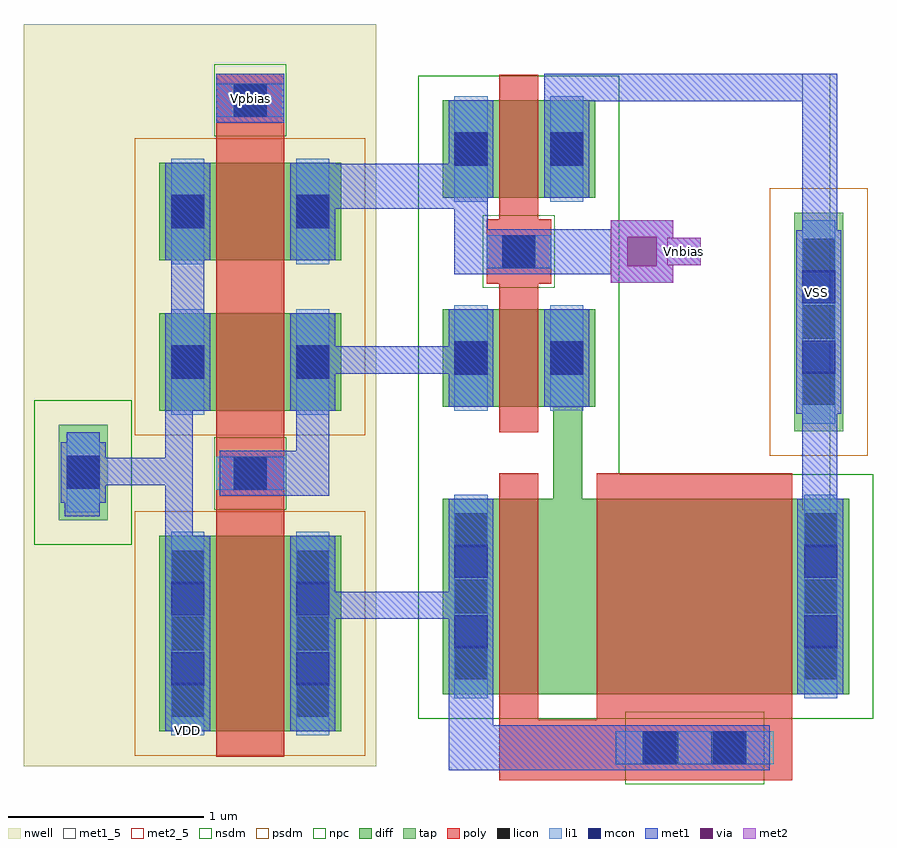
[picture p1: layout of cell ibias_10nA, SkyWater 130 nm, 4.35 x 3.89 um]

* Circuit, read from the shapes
.subckt ibias_10nA VDD VSS Vnbias Vpbias
XM1 n1 n2 n2 VSS sky130_fd_pr__nfet_01v8 w=1 l=0.2
XM2 n1 Vnbias Vpbias VSS sky130_fd_pr__nfet_01v8 w=0.5 l=0.2
XM3 VSS Vnbias Vnbias VSS sky130_fd_pr__nfet_01v8 w=0.5 l=0.2
XM4 VSS n2 n1 VSS sky130_fd_pr__nfet_01v8 w=1 l=1
XM5 n2 Vpbias VDD VDD sky130_fd_pr__pfet_01v8 w=1 l=0.35
XM6 Vpbias Vpbias VDD VDD sky130_fd_pr__pfet_01v8 w=0.5 l=0.35
XM7 Vnbias Vpbias VDD VDD sky130_fd_pr__pfet_01v8 w=0.5 l=0.35
.ends

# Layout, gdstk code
import gdstk
lib = gdstk.Library(unit=1e-6, precision=1e-09)
def R(c, l, rs):  # rectangles x0, y0, x1, y1
    for r in rs: c.add(gdstk.rectangle(r[:2], r[2:], *l))
def A(c, l, x, y, w, h, nx, ny, dx, dy):  # array of equal rectangles
    R(c, l, [(x+i*dx, y+j*dy, x+i*dx+w, y+j*dy+h) for i in range(nx) for j in range(ny)])
nwell = (64, 20)
diff = (65, 20)
tap = (65, 44)
poly = (66, 20)
licon = (66, 44)
li1 = (67, 20)
mcon = (67, 44)
met1_5 = (68, 5)
met1 = (68, 20)
via = (68, 44)
met2_5 = (69, 5)
met2 = (69, 20)
nsdm = (93, 44)
psdm = (94, 20)
npc = (95, 20)

s130_pfet_01v8_1w0_1l0 = lib.new_cell('s130_pfet_01v8_1w0_1l0')
R(s130_pfet_01v8_1w0_1l0, diff, [(-0.505,-0.345,0.79,0.655)])
R(s130_pfet_01v8_1w0_1l0, poly, [(-0.5,-0.785,0.5,0.785)])
A(s130_pfet_01v8_1w0_1l0, licon, 0.56, -0.27, 0.17, 0.17, 1, 3, 0, 0.34)
R(s130_pfet_01v8_1w0_1l0, licon, [(-0.255,-0.705,-0.085,-0.535), (0.085,-0.705,0.255,-0.535)])
R(s130_pfet_01v8_1w0_1l0, li1, [(-0.405,-0.705,0.405,-0.535), (0.56,-0.365,0.73,0.675)])
R(s130_pfet_01v8_1w0_1l0, mcon, [(-0.265,-0.705,-0.095,-0.535), (0.095,-0.705,0.265,-0.535), (0.56,-0.11,0.73,0.06), (0.56,0.25,0.73,0.42)])
R(s130_pfet_01v8_1w0_1l0, met1, [(-0.385,-0.735,0.385,-0.505), (0.53,-0.345,0.76,0.655)])
R(s130_pfet_01v8_1w0_1l0, nsdm, [(-0.63,-0.47,0.915,0.78)])
R(s130_pfet_01v8_1w0_1l0, npc, [(-0.355,-0.805,0.355,-0.435)])

s130_pfet_01v8_1w0_0l2 = lib.new_cell('s130_pfet_01v8_1w0_0l2')
R(s130_pfet_01v8_1w0_0l2, diff, [(-0.39,-0.5,0.35,0.5)])
R(s130_pfet_01v8_1w0_0l2, poly, [(-0.1,-0.63,0.1,0.63)])
A(s130_pfet_01v8_1w0_0l2, licon, -0.33, -0.425, 0.17, 0.17, 1, 3, 0, 0.34)
R(s130_pfet_01v8_1w0_0l2, li1, [(-0.33,-0.52,-0.16,0.52)])
R(s130_pfet_01v8_1w0_0l2, mcon, [(-0.33,-0.265,-0.16,-0.095), (-0.33,0.095,-0.16,0.265)])
R(s130_pfet_01v8_1w0_0l2, met1, [(-0.36,-0.5,-0.13,0.5)])
R(s130_pfet_01v8_1w0_0l2, nsdm, [(-0.515,-0.625,0.475,0.625)])

s130_pfet_01v8_1w0_0l35 = lib.new_cell('s130_pfet_01v8_1w0_0l35')
R(s130_pfet_01v8_1w0_0l35, nwell, [(-0.645,-0.5,0.645,0.99)])
R(s130_pfet_01v8_1w0_0l35, diff, [(-0.465,-0.32,0.465,0.68)])
R(s130_pfet_01v8_1w0_0l35, poly, [(-0.175,-0.45,0.175,0.81)])
A(s130_pfet_01v8_1w0_0l35, licon, -0.405, -0.245, 0.17, 0.17, 1, 3, 0, 0.34)
A(s130_pfet_01v8_1w0_0l35, licon, 0.235, -0.245, 0.17, 0.17, 1, 3, 0, 0.34)
R(s130_pfet_01v8_1w0_0l35, li1, [(-0.405,-0.34,-0.235,0.7), (0.235,-0.34,0.405,0.7)])
R(s130_pfet_01v8_1w0_0l35, mcon, [(-0.405,-0.085,-0.235,0.085), (0.235,-0.085,0.405,0.085), (-0.405,0.275,-0.235,0.445), (0.235,0.275,0.405,0.445)])
R(s130_pfet_01v8_1w0_0l35, met1, [(-0.435,-0.32,-0.205,0.68), (0.205,-0.32,0.435,0.68)])
R(s130_pfet_01v8_1w0_0l35, psdm, [(-0.59,-0.445,0.59,0.805)])

s130_pfet_01v8_0w5_0l35_ = lib.new_cell('s130_pfet_01v8_0w5_0l35_2')
R(s130_pfet_01v8_0w5_0l35_, nwell, [(-0.645,-0.74,0.645,0.525)])
R(s130_pfet_01v8_0w5_0l35_, diff, [(-0.465,-0.43,0.465,0.07)])
R(s130_pfet_01v8_0w5_0l35_, poly, [(-0.175,-0.56,0.175,0.525)])
R(s130_pfet_01v8_0w5_0l35_, licon, [(-0.405,-0.265,-0.235,-0.095), (0.235,-0.265,0.405,-0.095), (-0.085,0.305,0.085,0.475)])
R(s130_pfet_01v8_0w5_0l35_, li1, [(-0.405,-0.45,-0.235,0.09), (0.235,-0.45,0.405,0.09), (-0.175,0.305,0.175,0.475)])
R(s130_pfet_01v8_0w5_0l35_, mcon, [(-0.405,-0.265,-0.235,-0.095), (0.235,-0.265,0.405,-0.095), (-0.085,0.305,0.085,0.475)])
R(s130_pfet_01v8_0w5_0l35_, met1, [(-0.435,-0.43,-0.205,0.07), (0.205,-0.43,0.435,0.07), (-0.155,0.275,0.155,0.505)])
R(s130_pfet_01v8_0w5_0l35_, psdm, [(-0.59,-0.555,0.59,0.195)])
R(s130_pfet_01v8_0w5_0l35_, npc, [(-0.185,0.205,0.185,0.575)])

c_s130_pfet_01v8_0w5_0l35_ = lib.new_cell('s130_pfet_01v8_0w5_0l35_1')
R(c_s130_pfet_01v8_0w5_0l35_, nwell, [(-0.645,-0.57,0.645,0.74)])
R(c_s130_pfet_01v8_0w5_0l35_, diff, [(-0.465,-0.07,0.465,0.43)])
R(c_s130_pfet_01v8_0w5_0l35_, poly, [(-0.175,-0.555,0.175,0.56)])
R(c_s130_pfet_01v8_0w5_0l35_, licon, [(-0.085,-0.475,0.085,-0.305), (-0.405,0.095,-0.235,0.265), (0.235,0.095,0.405,0.265)])
R(c_s130_pfet_01v8_0w5_0l35_, li1, [(-0.175,-0.475,0.175,-0.305), (-0.405,-0.09,-0.235,0.45), (0.235,-0.09,0.405,0.45)])
R(c_s130_pfet_01v8_0w5_0l35_, mcon, [(-0.085,-0.475,0.085,-0.305), (-0.405,0.095,-0.235,0.265), (0.235,0.095,0.405,0.265)])
R(c_s130_pfet_01v8_0w5_0l35_, met1, [(-0.155,-0.505,0.155,-0.275), (-0.435,-0.07,-0.205,0.43), (0.205,-0.07,0.435,0.43)])
R(c_s130_pfet_01v8_0w5_0l35_, psdm, [(-0.59,-0.195,0.59,0.555)])
R(c_s130_pfet_01v8_0w5_0l35_, npc, [(-0.185,-0.575,0.185,-0.205)])

s130_nfet_01v8_0w5_0l2_2 = lib.new_cell('s130_nfet_01v8_0w5_0l2_2')
R(s130_nfet_01v8_0w5_0l2_2, diff, [(-0.39,-0.095,0.39,0.405)])
R(s130_nfet_01v8_0w5_0l2_2, poly, [(-0.165,-0.535,0.165,-0.205), (-0.1,-0.205,0.1,0.535)])
R(s130_nfet_01v8_0w5_0l2_2, licon, [(-0.085,-0.455,0.085,-0.285), (-0.33,0.07,-0.16,0.24), (0.16,0.07,0.33,0.24)])
R(s130_nfet_01v8_0w5_0l2_2, li1, [(-0.165,-0.455,0.165,-0.285), (-0.33,-0.115,-0.16,0.425), (0.16,-0.115,0.33,0.425)])
R(s130_nfet_01v8_0w5_0l2_2, mcon, [(-0.085,-0.455,0.085,-0.285), (-0.33,0.07,-0.16,0.24), (0.16,0.07,0.33,0.24)])
R(s130_nfet_01v8_0w5_0l2_2, met1, [(-0.145,-0.485,0.145,-0.255), (-0.36,-0.095,-0.13,0.405), (0.13,-0.095,0.36,0.405)])
R(s130_nfet_01v8_0w5_0l2_2, nsdm, [(-0.515,-0.22,0.515,0.53)])
R(s130_nfet_01v8_0w5_0l2_2, npc, [(-0.185,-0.555,0.185,-0.185)])

s130_nfet_01v8_0w5_0l2_1 = lib.new_cell('s130_nfet_01v8_0w5_0l2_1')
R(s130_nfet_01v8_0w5_0l2_1, diff, [(-0.39,-0.25,0.39,0.25)])
R(s130_nfet_01v8_0w5_0l2_1, poly, [(-0.1,-0.38,0.1,0.38)])
R(s130_nfet_01v8_0w5_0l2_1, licon, [(-0.33,-0.085,-0.16,0.085), (0.16,-0.085,0.33,0.085)])
R(s130_nfet_01v8_0w5_0l2_1, li1, [(-0.33,-0.27,-0.16,0.27), (0.16,-0.27,0.33,0.27)])
R(s130_nfet_01v8_0w5_0l2_1, mcon, [(-0.33,-0.085,-0.16,0.085), (0.16,-0.085,0.33,0.085)])
R(s130_nfet_01v8_0w5_0l2_1, met1, [(-0.36,-0.25,-0.13,0.25), (0.13,-0.25,0.36,0.25)])
R(s130_nfet_01v8_0w5_0l2_1, nsdm, [(-0.515,-0.375,0.515,0.375)])

ibias_10na = lib.new_cell('ibias_10nA')
R(ibias_10na, nwell, [(0.025,-7.99,1.39,-6.605), (0.025,-6.605,1.525,-6.375), (0.025,-6.375,1.39,-4.9), (0.025,-4.9,0.955,-4.815), (1.01,-4.9,1.39,-4.72), (0.025,-4.815,0.915,-4.72), (0.94,-4.815,0.955,-4.81), (0.025,-4.72,1.83,-4.19)])
R(ibias_10na, diff, [(2.735,-7.62,2.96,-6.62), (2.735,-6.62,2.885,-6.15)])
R(ibias_10na, tap, [(0.205,-6.73,0.455,-6.24), (3.97,-6.275,4.22,-5.155)])
R(ibias_10na, poly, [(2.46,-8.06,2.96,-7.75), (1.01,-6.805,1.36,-6.17), (1.01,-5.67,1.36,-5.4), (2.46,-5.47,2.66,-5.39)])
A(ibias_10na, licon, 4.01, -6.14, 0.17, 0.17, 1, 3, 0, 0.34)
R(ibias_10na, licon, [(0.245,-6.57,0.415,-6.4)])
R(ibias_10na, li1, [(0.245,-6.69,0.415,-6.28), (4.01,-6.235,4.18,-5.195), (0.78,-4.94,0.95,-4.9)])
R(ibias_10na, mcon, [(0.245,-6.57,0.415,-6.4), (4.01,-5.98,4.18,-5.81), (4.01,-5.62,4.18,-5.45)])
R(ibias_10na, met1_5, [(0.75,-7.81,0.98,-7.805), (4.01,-6.68,4.155,-4.445), (1.01,-4.695,1.36,-4.445)])
R(ibias_10na, met1, [(2.2,-8.01,3.2,-7.78), (2.2,-7.78,2.43,-7.62), (3.985,-7.62,4.155,-6.625), (2.315,-7.245,2.39,-7.235), (1.39,-7.235,2.39,-7.095), (1.39,-7.095,1.62,-7.05), (2.2,-7.095,2.39,-7.085), (2.2,-7.085,2.315,-7.05), (0.75,-6.87,0.89,-6.55), (2.2,-6.725,2.43,-6.62), (0.235,-6.71,0.415,-6.64), (0.215,-6.64,0.445,-6.55), (3.985,-6.625,4.19,-6.62), (4.01,-6.62,4.19,-6.185), (1.03,-6.605,1.59,-6.375), (0.215,-6.55,0.89,-6.41), (0.215,-6.41,0.445,-6.33), (0.75,-6.41,0.89,-6.03), (1.42,-6.375,1.59,-6.17), (0.245,-6.33,0.415,-6.28), (3.98,-6.185,4.21,-5.245), (1.39,-6.17,1.62,-6.03), (1.45,-5.98,2.375,-5.87), (1.45,-5.87,2.4,-5.84), (2.315,-5.84,2.4,-5.8), (1.47,-5.8,1.62,-5.71), (2.2,-5.8,2.4,-5.71), (0.75,-5.73,0.89,-5.685), (0.75,-5.685,0.95,-5.67), (0.78,-5.67,0.95,-5.4), (3.03,-5.515,3.35,-5.47), (2.23,-5.47,3.35,-5.425), (2.23,-5.425,3.49,-5.285), (0.75,-5.4,0.98,-5.26), (2.23,-5.285,3.35,-5.24), (4.01,-5.245,4.19,-4.585), (2.23,-5.24,2.4,-5.135), (3.03,-5.24,3.35,-5.195), (1.42,-5.135,2.4,-4.905), (0.78,-4.92,0.95,-4.91), (0.75,-4.91,0.98,-4.9), (2.72,-4.905,2.915,-4.75), (1.01,-4.695,1.36,-4.445), (2.92,-4.585,4.19,-4.58), (2.69,-4.58,4.19,-4.445)])
R(ibias_10na, via, [(3.115,-5.43,3.265,-5.28)])
R(ibias_10na, met2_5, [(3.32,-5.425,3.49,-5.285)])
R(ibias_10na, met2, [(3.03,-5.515,3.35,-5.425), (3.03,-5.425,3.49,-5.285), (3.03,-5.285,3.35,-5.195)])
R(ibias_10na, nsdm, [(2.61,-7.745,3.085,-6.495), (0.08,-6.855,0.58,-6.115), (2.045,-6.495,3.075,-6.275), (2.61,-6.275,3.01,-6.025), (2.045,-5.525,3.075,-5.205)])
R(ibias_10na, psdm, [(3.845,-6.4,4.345,-5.03), (0.595,-5.545,1.775,-5.525)])
ibias_10na.add(gdstk.Reference(s130_pfet_01v8_1w0_1l0, (3.46,-7.275)))
ibias_10na.add(gdstk.Reference(s130_pfet_01v8_1w0_0l2, (2.56,-7.12)))
ibias_10na.add(gdstk.Reference(s130_pfet_01v8_1w0_0l35, (1.185,-7.49)))
ibias_10na.add(gdstk.Reference(s130_pfet_01v8_0w5_0l35_, (1.185,-4.97)))
ibias_10na.add(gdstk.Reference(c_s130_pfet_01v8_0w5_0l35_, (1.185,-6.1)))
ibias_10na.add(gdstk.Reference(s130_nfet_01v8_0w5_0l2_2, (2.56,-4.985)))
ibias_10na.add(gdstk.Reference(s130_nfet_01v8_0w5_0l2_1, (2.56,-5.9)))
ibias_10na.add(gdstk.Label('Vnbias', (3.405,-5.355), layer=69, texttype=5))
ibias_10na.add(gdstk.Label('Vpbias', (1.185,-4.57), layer=68, texttype=5))
ibias_10na.add(gdstk.Label('VSS', (4.082,-5.562), layer=68, texttype=5))
ibias_10na.add(gdstk.Label('VDD', (0.865,-7.807), layer=68, texttype=5))

lib.write_gds('ibias_10nA.gds')
